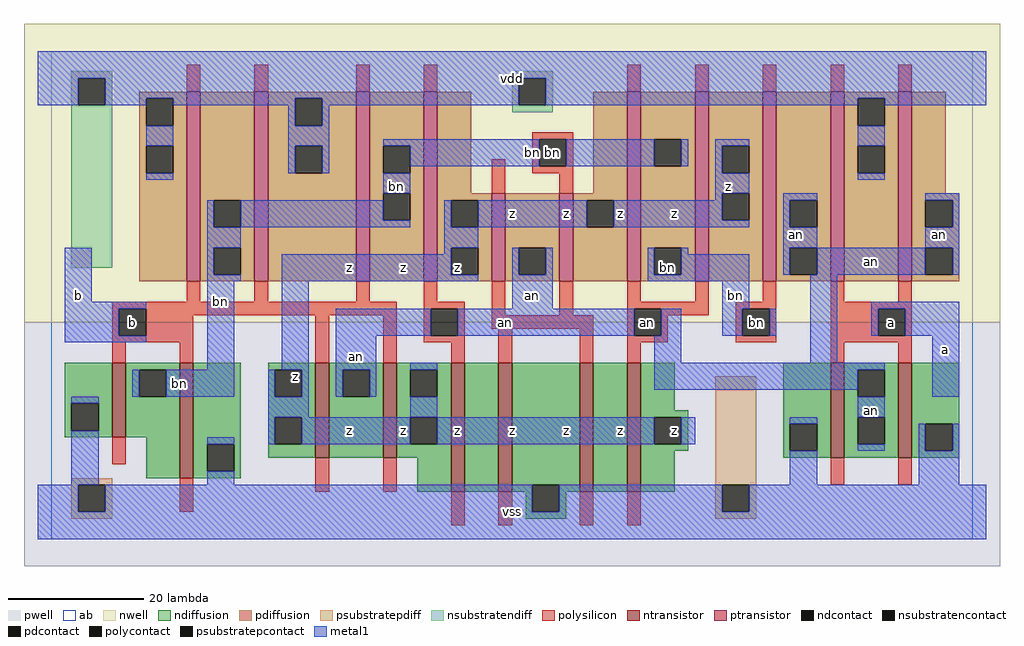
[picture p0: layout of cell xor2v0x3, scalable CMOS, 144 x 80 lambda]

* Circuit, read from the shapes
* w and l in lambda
.subckt xor2v0x3 a an b bn vdd vss z
M1 bn b vss vss nfet w=11 l=2
M2 vss b bn vss nfet w=17 l=2
M3 an b z vss nfet w=14 l=2 m=2
M4 n1 an z vss nfet w=19 l=2
M5 vss bn n1 vss nfet w=19 l=2
M6 n2 bn vss vss nfet w=19 l=2
M7 z an n2 vss nfet w=19 l=2
M8 an a vss vss nfet w=14 l=2 m=2
M9 bn b vdd vdd pfet w=28 l=2 m=3
M10 z an bn vdd pfet w=28 l=2 m=3
M11 an bn z vdd pfet w=13 l=2 m=2
M12 an bn z vdd pfet w=28 l=2
M13 vdd a an vdd pfet w=28 l=2 m=2
.ends

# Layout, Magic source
magic
tech scmos
<< ab >>
rect 0 0 136 72
<< pwell >>
rect -4 -4 140 32
<< nwell >>
rect -4 32 140 76
<< polysilicon >>
rect 20 66 22 70
rect 30 66 32 70
rect 45 66 47 70
rect 55 66 57 70
rect 85 66 87 70
rect 95 66 97 70
rect 105 66 107 70
rect 115 66 117 70
rect 125 66 127 70
rect 71 59 77 60
rect 65 51 67 56
rect 71 55 72 59
rect 76 55 77 59
rect 71 54 77 55
rect 75 51 77 54
rect 20 35 22 38
rect 30 35 32 38
rect 45 35 47 38
rect 55 35 57 38
rect 9 34 51 35
rect 9 30 10 34
rect 14 33 51 34
rect 14 30 21 33
rect 9 29 21 30
rect 9 26 11 29
rect 19 26 21 29
rect 39 26 41 33
rect 49 26 51 33
rect 55 34 61 35
rect 55 30 56 34
rect 60 30 61 34
rect 65 33 67 38
rect 75 33 77 38
rect 85 35 87 38
rect 95 35 97 38
rect 105 35 107 38
rect 85 34 97 35
rect 65 31 80 33
rect 55 29 61 30
rect 59 26 61 29
rect 66 26 68 31
rect 78 26 80 31
rect 85 30 86 34
rect 90 33 97 34
rect 101 34 107 35
rect 90 30 91 33
rect 85 29 91 30
rect 101 30 102 34
rect 106 30 107 34
rect 101 29 107 30
rect 115 35 117 38
rect 125 35 127 38
rect 115 34 127 35
rect 115 30 122 34
rect 126 30 127 34
rect 115 29 127 30
rect 85 26 87 29
rect 115 26 117 29
rect 125 26 127 29
rect 9 11 11 15
rect 19 4 21 9
rect 39 7 41 12
rect 49 7 51 12
rect 59 2 61 7
rect 66 2 68 7
rect 115 8 117 12
rect 125 8 127 12
rect 78 2 80 7
rect 85 2 87 7
<< ndiffusion >>
rect 2 20 9 26
rect 2 16 3 20
rect 7 16 9 20
rect 2 15 9 16
rect 11 25 19 26
rect 11 21 13 25
rect 17 21 19 25
rect 11 15 19 21
rect 14 9 19 15
rect 21 14 28 26
rect 21 10 23 14
rect 27 10 28 14
rect 32 25 39 26
rect 32 21 33 25
rect 37 21 39 25
rect 32 18 39 21
rect 32 14 33 18
rect 37 14 39 18
rect 32 12 39 14
rect 41 25 49 26
rect 41 21 43 25
rect 47 21 49 25
rect 41 12 49 21
rect 51 25 59 26
rect 51 21 53 25
rect 57 21 59 25
rect 51 18 59 21
rect 51 14 53 18
rect 57 14 59 18
rect 51 12 59 14
rect 21 9 28 10
rect 54 7 59 12
rect 61 7 66 26
rect 68 8 78 26
rect 68 7 71 8
rect 70 4 71 7
rect 75 7 78 8
rect 80 7 85 26
rect 87 19 92 26
rect 87 18 94 19
rect 87 14 89 18
rect 93 14 94 18
rect 87 13 94 14
rect 87 7 92 13
rect 108 17 115 26
rect 108 13 109 17
rect 113 13 115 17
rect 108 12 115 13
rect 117 25 125 26
rect 117 21 119 25
rect 123 21 125 25
rect 117 18 125 21
rect 117 14 119 18
rect 123 14 125 18
rect 117 12 125 14
rect 127 17 134 26
rect 127 13 129 17
rect 133 13 134 17
rect 127 12 134 13
rect 75 4 76 7
rect 70 3 76 4
<< pdiffusion >>
rect 13 65 20 66
rect 13 61 14 65
rect 18 61 20 65
rect 13 58 20 61
rect 13 54 14 58
rect 18 54 20 58
rect 13 38 20 54
rect 22 50 30 66
rect 22 46 24 50
rect 28 46 30 50
rect 22 43 30 46
rect 22 39 24 43
rect 28 39 30 43
rect 22 38 30 39
rect 32 65 45 66
rect 32 61 36 65
rect 40 61 45 65
rect 32 58 45 61
rect 32 54 36 58
rect 40 54 45 58
rect 32 38 45 54
rect 47 58 55 66
rect 47 54 49 58
rect 53 54 55 58
rect 47 51 55 54
rect 47 47 49 51
rect 53 47 55 51
rect 47 38 55 47
rect 57 51 62 66
rect 80 51 85 66
rect 57 50 65 51
rect 57 46 59 50
rect 63 46 65 50
rect 57 43 65 46
rect 57 39 59 43
rect 63 39 65 43
rect 57 38 65 39
rect 67 43 75 51
rect 67 39 69 43
rect 73 39 75 43
rect 67 38 75 39
rect 77 50 85 51
rect 77 46 79 50
rect 83 46 85 50
rect 77 38 85 46
rect 87 59 95 66
rect 87 55 89 59
rect 93 55 95 59
rect 87 43 95 55
rect 87 39 89 43
rect 93 39 95 43
rect 87 38 95 39
rect 97 58 105 66
rect 97 54 99 58
rect 103 54 105 58
rect 97 51 105 54
rect 97 47 99 51
rect 103 47 105 51
rect 97 38 105 47
rect 107 50 115 66
rect 107 46 109 50
rect 113 46 115 50
rect 107 43 115 46
rect 107 39 109 43
rect 113 39 115 43
rect 107 38 115 39
rect 117 65 125 66
rect 117 61 119 65
rect 123 61 125 65
rect 117 58 125 61
rect 117 54 119 58
rect 123 54 125 58
rect 117 38 125 54
rect 127 51 132 66
rect 127 50 134 51
rect 127 46 129 50
rect 133 46 134 50
rect 127 43 134 46
rect 127 39 129 43
rect 133 39 134 43
rect 127 38 134 39
<< metal1 >>
rect -2 68 138 72
rect -2 64 4 68
rect 8 65 69 68
rect 8 64 14 65
rect 18 64 36 65
rect 14 58 18 61
rect 35 61 36 64
rect 40 64 69 65
rect 73 65 138 68
rect 73 64 119 65
rect 40 61 41 64
rect 35 58 41 61
rect 123 64 138 65
rect 35 54 36 58
rect 40 54 41 58
rect 49 58 72 59
rect 53 55 72 58
rect 76 55 89 59
rect 93 55 94 59
rect 98 58 103 59
rect 14 53 18 54
rect 49 51 53 54
rect 23 46 24 50
rect 28 47 49 50
rect 98 54 99 58
rect 98 51 103 54
rect 119 58 123 61
rect 119 53 123 54
rect 98 50 99 51
rect 28 46 53 47
rect 58 46 59 50
rect 63 46 79 50
rect 83 47 99 50
rect 83 46 103 47
rect 108 50 113 51
rect 108 46 109 50
rect 23 43 28 46
rect 2 35 6 43
rect 23 39 24 43
rect 58 43 63 46
rect 108 43 113 46
rect 129 50 134 51
rect 133 46 134 50
rect 129 43 134 46
rect 58 42 59 43
rect 23 38 28 39
rect 34 39 59 42
rect 34 38 63 39
rect 68 39 69 43
rect 73 39 74 43
rect 2 34 14 35
rect 2 30 10 34
rect 2 29 14 30
rect 23 25 27 38
rect 34 25 38 38
rect 68 34 74 39
rect 88 39 89 43
rect 93 42 94 43
rect 93 39 103 42
rect 108 39 109 43
rect 113 39 129 43
rect 133 39 134 43
rect 88 38 103 39
rect 99 34 103 38
rect 12 21 13 25
rect 17 21 27 25
rect 32 21 33 25
rect 37 21 38 25
rect 42 30 56 34
rect 60 30 86 34
rect 90 30 93 34
rect 99 30 102 34
rect 106 30 107 34
rect 42 25 48 30
rect 89 26 93 30
rect 112 26 116 39
rect 121 34 134 35
rect 121 30 122 34
rect 126 30 134 34
rect 42 21 43 25
rect 47 21 48 25
rect 53 25 57 26
rect 89 25 123 26
rect 89 22 119 25
rect 3 20 7 21
rect 3 8 7 16
rect 32 18 38 21
rect 53 18 57 21
rect 130 21 134 30
rect 119 18 123 21
rect 23 14 27 15
rect 32 14 33 18
rect 37 14 53 18
rect 57 14 89 18
rect 93 14 95 18
rect 109 17 113 18
rect 23 8 27 10
rect 119 13 123 14
rect 128 13 129 17
rect 133 13 134 17
rect 109 8 113 13
rect 128 8 134 13
rect -2 4 4 8
rect 8 4 71 8
rect 75 4 99 8
rect 103 4 138 8
rect -2 0 138 4
<< ntransistor >>
rect 9 15 11 26
rect 19 9 21 26
rect 39 12 41 26
rect 49 12 51 26
rect 59 7 61 26
rect 66 7 68 26
rect 78 7 80 26
rect 85 7 87 26
rect 115 12 117 26
rect 125 12 127 26
<< ptransistor >>
rect 20 38 22 66
rect 30 38 32 66
rect 45 38 47 66
rect 55 38 57 66
rect 65 38 67 51
rect 75 38 77 51
rect 85 38 87 66
rect 95 38 97 66
rect 105 38 107 66
rect 115 38 117 66
rect 125 38 127 66
<< polycontact >>
rect 72 55 76 59
rect 10 30 14 34
rect 56 30 60 34
rect 86 30 90 34
rect 102 30 106 34
rect 122 30 126 34
<< ndcontact >>
rect 3 16 7 20
rect 13 21 17 25
rect 23 10 27 14
rect 33 21 37 25
rect 33 14 37 18
rect 43 21 47 25
rect 53 21 57 25
rect 53 14 57 18
rect 71 4 75 8
rect 89 14 93 18
rect 109 13 113 17
rect 119 21 123 25
rect 119 14 123 18
rect 129 13 133 17
<< pdcontact >>
rect 14 61 18 65
rect 14 54 18 58
rect 24 46 28 50
rect 24 39 28 43
rect 36 61 40 65
rect 36 54 40 58
rect 49 54 53 58
rect 49 47 53 51
rect 59 46 63 50
rect 59 39 63 43
rect 69 39 73 43
rect 79 46 83 50
rect 89 55 93 59
rect 89 39 93 43
rect 99 54 103 58
rect 99 47 103 51
rect 109 46 113 50
rect 109 39 113 43
rect 119 61 123 65
rect 119 54 123 58
rect 129 46 133 50
rect 129 39 133 43
<< psubstratepcontact >>
rect 4 4 8 8
rect 99 4 103 8
<< nsubstratencontact >>
rect 4 64 8 68
rect 69 64 73 68
<< psubstratepdiff >>
rect 3 8 9 9
rect 3 4 4 8
rect 8 4 9 8
rect 3 3 9 4
rect 98 8 104 24
rect 98 4 99 8
rect 103 4 104 8
rect 98 3 104 4
<< nsubstratendiff >>
rect 3 68 9 69
rect 3 64 4 68
rect 8 64 9 68
rect 68 68 74 69
rect 3 40 9 64
rect 68 64 69 68
rect 73 64 74 68
rect 68 63 74 64
<< labels >>
rlabel polycontact 88 32 88 32 6 an
rlabel polycontact 74 57 74 57 6 bn
rlabel polycontact 104 32 104 32 6 bn
rlabel polycontact 12 32 12 32 6 b
rlabel metal1 4 36 4 36 6 b
rlabel metal1 44 16 44 16 6 z
rlabel metal1 19 23 19 23 6 bn
rlabel ndcontact 36 24 36 24 6 z
rlabel metal1 45 27 45 27 6 an
rlabel metal1 44 40 44 40 6 z
rlabel metal1 25 35 25 35 6 bn
rlabel metal1 51 52 51 52 6 bn
rlabel metal1 68 4 68 4 6 vss
rlabel metal1 76 16 76 16 6 z
rlabel metal1 68 16 68 16 6 z
rlabel metal1 60 16 60 16 6 z
rlabel metal1 52 16 52 16 6 z
rlabel metal1 52 40 52 40 6 z
rlabel pdcontact 60 40 60 40 6 z
rlabel metal1 71 36 71 36 6 an
rlabel metal1 76 48 76 48 6 z
rlabel metal1 68 48 68 48 6 z
rlabel metal1 68 68 68 68 6 vdd
rlabel ndcontact 92 16 92 16 6 z
rlabel metal1 84 16 84 16 6 z
rlabel metal1 101 36 101 36 6 bn
rlabel metal1 67 32 67 32 6 an
rlabel pdcontact 91 40 91 40 6 bn
rlabel metal1 84 48 84 48 6 z
rlabel metal1 100 52 100 52 6 z
rlabel metal1 92 48 92 48 6 z
rlabel metal1 71 57 71 57 6 bn
rlabel metal1 121 19 121 19 6 an
rlabel metal1 132 28 132 28 6 a
rlabel polycontact 124 32 124 32 6 a
rlabel metal1 131 45 131 45 6 an
rlabel metal1 121 41 121 41 6 an
rlabel metal1 110 45 110 45 6 an
<< end >>
